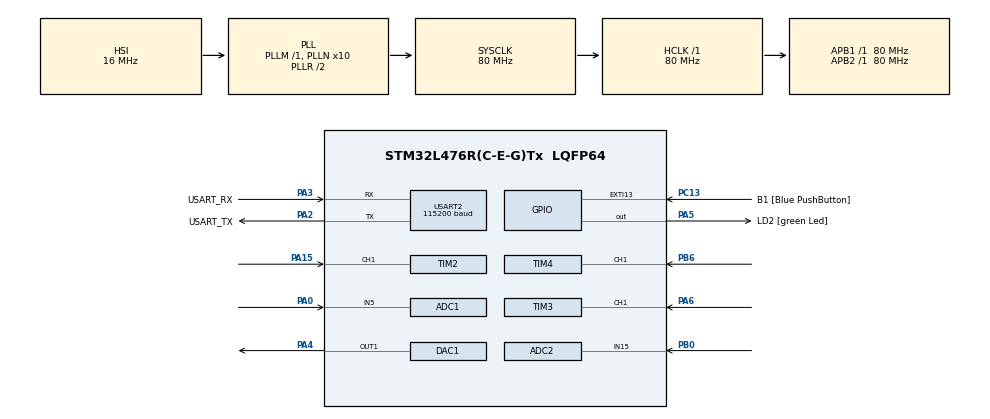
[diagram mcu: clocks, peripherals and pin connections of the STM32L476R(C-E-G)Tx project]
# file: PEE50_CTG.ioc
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Mcu.Family=STM32L4
PA2.GPIO_PuPd=GPIO_NOPULL
RCC.CortexFreq_Value=80000000
TIM2.Channel-Input_Capture1_from_TI1=TIM_CHANNEL_1
ADC2.Channel-0\#ChannelRegularConversion=ADC_CHANNEL_15
PH0-OSC_IN\ (PH0).Signal=RCC_OSC_IN
PA3.GPIO_PuPd=GPIO_NOPULL
PA2.GPIO_Speed=GPIO_SPEED_FREQ_VERY_HIGH
PA15\ (JTDI).Signal=S_TIM2_CH1
PC13.GPIO_Label=B1 [Blue PushButton]
PA3.GPIO_Speed=GPIO_SPEED_FREQ_VERY_HIGH
RCC.SYSCLKSource=RCC_SYSCLKSOURCE_PLLCLK
ProjectManager.StackSize=0x400
PB3\ (JTDO-TRACESWO).Signal=SYS_JTDO-SWO
TIM4.Channel-Input_Capture1_from_TI1=TIM_CHANNEL_1
NVIC.DMA1_Channel3_IRQn=true\:0\:0\:false\:false\:true\:false\:true
PA14\ (JTCK-SWCLK).Signal=SYS_JTCK-SWCLK
Dma.DAC_CH1.0.Instance=DMA1_Channel3
RCC.HCLKFreq_Value=80000000
RCC.APB2TimFreq_Value=80000000
TIM3.Period=20000
PB6.Signal=S_TIM4_CH1
RCC.AHBFreq_Value=80000000
RCC.PREFETCH_ENABLE=1
TIM3.ClockDivision=TIM_CLOCKDIVISION_DIV4
NVIC.EXTI15_10_IRQn=true\:0\:0\:false\:false\:true\:true\:true
ADC1.Channel-0\#ChannelRegularConversion=ADC_CHANNEL_5
RCC.HSE_VALUE=8000000
TIM3.Channel-Input_Capture1_from_TI1=TIM_CHANNEL_1
USART2.VirtualMode-Asynchronous=VM_ASYNC
SH.ADCx_IN15.1=ADC2_IN15,IN15-Single-Ended
SH.ADCx_IN15.0=ADC1_IN15
TIM3.Prescaler=0
PA5.GPIO_PuPd=GPIO_NOPULL
PC13.GPIO_PuPd=GPIO_NOPULL
Dma.DAC_CH1.0.PeriphDataAlignment=DMA_PDATAALIGN_WORD
SH.S_TIM3_CH1.0=TIM3_CH1,Input_Capture1_from_TI1
TIM4.Period=4000
ADC1.SamplingTime-0\#ChannelRegularConversion=ADC_SAMPLETIME_2CYCLES_5
PA0.Signal=ADCx_IN5
Mcu.Package=LQFP64
TIM2.Prescaler=0
TIM3.ICPrescaler-Input_Capture1_from_TI1=TIM_ICPSC_DIV1
PA6.Signal=S_TIM3_CH1
PA2.GPIO_Label=USART_TX
Dma.DAC_CH1.0.Priority=DMA_PRIORITY_HIGH
ADC2.SamplingTime-0\#ChannelRegularConversion=ADC_SAMPLETIME_2CYCLES_5
TIM2.TIM_MasterOutputTrigger=TIM_TRGO_UPDATE
SH.S_TIM4_CH1.0=TIM4_CH1,Input_Capture1_from_TI1
RCC.APB1TimFreq_Value=80000000
ADC2.Rank-0\#ChannelRegularConversion=1
PA13\ (JTMS-SWDIO).Signal=SYS_JTMS-SWDIO
Dma.Request0=DAC_CH1
VP_TIM3_VS_ClockSourceINT.Mode=Internal
PA3.Signal=USART2_RX
PA2.GPIO_Mode=GPIO_MODE_AF_PP
RCC.MSI_VALUE=4000000
RCC.PLLSourceVirtual=RCC_PLLSOURCE_HSI
Dma.DAC_CH1.0.Mode=DMA_CIRCULAR
Dma.DAC_CH1.0.MemDataAlignment=DMA_MDATAALIGN_WORD
TIM4.AutoReloadPreload=TIM_AUTORELOAD_PRELOAD_ENABLE
SH.S_TIM2_CH1.0=TIM2_CH1,Input_Capture1_from_TI1
ADC1.Rank-0\#ChannelRegularConversion=1
TIM3.AutoReloadPreload=TIM_AUTORELOAD_PRELOAD_ENABLE
ADC1.OffsetNumber-0\#ChannelRegularConversion=ADC_OFFSET_NONE
PC13.Signal=GPXTI13
PC15-OSC32_OUT\ (PC15).Signal=RCC_OSC32_OUT
PA14\ (JTCK-SWCLK).GPIO_Label=TCK
PB3\ (JTDO-TRACESWO).GPIO_Label=SWO
USART2.BaudRate=115200
PH1-OSC_OUT\ (PH1).Signal=RCC_OSC_OUT
PA3.Mode=Asynchronous
Dma.DAC_CH1.0.Direction=DMA_MEMORY_TO_PERIPH
ProjectManager.TargetToolchain=STM32CubeIDE
PA3.GPIO_Mode=GPIO_MODE_AF_PP
SH.COMP_DAC11_group.0=DAC1_OUT1,DAC_OUT1
Dma.DAC_CH1.0.MemInc=DMA_MINC_ENABLE
RCC.USBFreq_Value=64000000
TIM4.Prescaler=20000
RCC.LSE_VALUE=32768
PA5.Signal=GPIO_Output
ADC2.OffsetNumber-0\#ChannelRegularConversion=ADC_OFFSET_NONE
board=NUCLEO-L476RG
RCC.VCOOutputFreq_Value=160000000
NVIC.TIM3_IRQn=true\:0\:0\:false\:false\:true\:true\:true
RCC.APB2Freq_Value=80000000
PA5.GPIO_ModeDefaultOutputPP=GPIO_MODE_OUTPUT_PP
PA13\ (JTMS-SWDIO).GPIO_Label=TMS
TIM4.ClockDivision=TIM_CLOCKDIVISION_DIV4
VP_TIM2_VS_ClockSourceINT.Mode=Internal
RCC.ADCFreq_Value=64000000
DAC1.DAC_Trigger-DAC_OUT1=DAC_TRIGGER_T2_TRGO
TIM2.Period=24
Mcu.Name=STM32L476R(C-E-G)Tx
PA2.Signal=USART2_TX
Dma.DAC_CH1.0.PeriphInc=DMA_PINC_DISABLE
PA4.Signal=COMP_DAC11_group
RCC.SYSCLKFreq_VALUE=80000000
ADC1.master=1
PA5.GPIO_Label=LD2 [green Led]
ADC2.NbrOfConversionFlag=1
PC13.GPIO_ModeDefaultEXTI=GPIO_MODE_IT_FALLING
PC14-OSC32_IN\ (PC14).Signal=RCC_OSC32_IN
ProjectManager.HeapSize=0x200
RCC.HSI_VALUE=16000000
SH.ADCx_IN5.0=ADC1_IN5,IN5-Single-Ended
VP_TIM4_VS_ClockSourceINT.Mode=Internal
PA5.GPIO_Speed=GPIO_SPEED_FREQ_LOW
NVIC.PriorityGroup=NVIC_PRIORITYGROUP_4
ADC1.NbrOfConversionFlag=1
RCC.PLLN=10
PA2.Mode=Asynchronous
TIM2.AutoReloadPreload=TIM_AUTORELOAD_PRELOAD_ENABLE
NVIC.TIM4_IRQn=true\:0\:0\:false\:false\:true\:true\:true
RCC.APB1Freq_Value=80000000
USART2.Mode=MODE_TX
PB0.Signal=ADCx_IN15
PA3.GPIO_Label=USART_RX

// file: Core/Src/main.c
/* USER CODE BEGIN Header */
/**
  ******************************************************************************
  * @file           : main.c
  * @brief          : Main program body
  ******************************************************************************
  * @attention
  *
  * <h2><center>&copy; Copyright (c) 2021 STMicroelectronics.
  * All rights reserved.</center></h2>
  *
  * This software component is licensed by ST under BSD 3-Clause license,
  * the "License"; You may not use this file except in compliance with the
  * License. You may obtain a copy of the License at:
  *                        opensource.org/licenses/BSD-3-Clause
  *
  ******************************************************************************
  */
/* USER CODE END Header */
#include "main.h"

/* USER CODE BEGIN Includes */
#include <ctg.h>
#include <stdio.h>
#include <string.h>
#include <stdbool.h>
#include <stdlib.h>
/* USER CODE END Includes */

/* USER CODE BEGIN PTD */

/* use linked list instead of array */
typedef struct node {
    float sample;
    struct node *next;
} node_t;

node_t *head = NULL;
node_t *tail = NULL;

node_t *root = NULL;
node_t *leaf = NULL;

/* USER CODE END PTD */

/* USER CODE BEGIN PD */

/* timeconstants in ms for calculating averages */
#define FREQ 38
#define AVG	100

/* USER CODE END PD */

ADC_HandleTypeDef hadc1;
ADC_HandleTypeDef hadc2;

DAC_HandleTypeDef hdac1;
DMA_HandleTypeDef hdma_dac_ch1;

TIM_HandleTypeDef htim2;
TIM_HandleTypeDef htim3;
TIM_HandleTypeDef htim4;

UART_HandleTypeDef huart2;

/* USER CODE BEGIN PV */

/* voltage variables */
float voltage 			= 0;
float avg_voltage 		= 0;
//float center_voltage 	= 0;

/* sum variables */
float sum_voltage 		= 0;
float sum_center 		= 0;

/* time-keeping variables */
volatile uint32_t new_time 		= 0;
volatile uint32_t current_time 	= 0;
volatile uint32_t previous_time = 0;

volatile bool bHeart 			= false;
volatile bool bDelayed_start 	= true;
volatile bool bEcg				= false;
volatile bool bUart				= false;
volatile int i 					= 0;

/* bpm variables */
volatile uint16_t bpm 			= 0;

/* comapre values for ecg and respitory */
uint16_t ecg_level		= (0.145 * 1000);
uint16_t resp_level		= (0.09 * 1000);
uint16_t current_level	= 0;

/* shift list with one npde */
void shift(float sample)
{
	/* init node */
	node_t *n = (node_t*) malloc(sizeof(node_t));
	n->sample = sample;
	n->next = NULL;

	/* add to tail */
	tail->next = n;
	tail = n;

	/* remove first node */
	node_t *temp = head;
	head = head->next;
	free(temp);
}

void shift2(float sample)
{
	/* init node */
	node_t *n = (node_t*) malloc(sizeof(node_t));
	n->sample = sample;
	n->next = NULL;

	/* add to tail */
	leaf->next = n;
	leaf = n;

	/* remove first node */
	node_t *temp = root;
	root = root->next;
	free(temp);
}

/* USER CODE END PV */

void SystemClock_Config(void);
static void MX_GPIO_Init(void);
static void MX_DMA_Init(void);
static void MX_DAC1_Init(void);
static void MX_TIM2_Init(void);
static void MX_USART2_UART_Init(void);
static void MX_ADC1_Init(void);
static void MX_TIM3_Init(void);
static void MX_TIM4_Init(void);
static void MX_ADC2_Init(void);
/* USER CODE BEGIN PFP */
int k = 0;

/* Timer interrupt for heart rate and respitory rate */
void HAL_TIM_PeriodElapsedCallback(TIM_HandleTypeDef *htim)
{
	//Every 1ms it will go in this interrupt.
	/* uart send rate is equal to the timer 4 freq */
	if(htim == &htim4) { bHeart = true; }

	if(bEcg)
	{
		/* read adc */
		ctg_read_adc(&hadc1,&voltage);

		/* the only difference betweeen previous sums is
		 * the first and last index */
		shift(voltage);
		sum_voltage -= head->sample;
		sum_voltage += tail->sample;

		avg_voltage = (sum_voltage / 30);

		i++;
		if(i % 20 == 0)
		{
			shift2(avg_voltage);
			sum_center -= root->sample;
			sum_center += leaf->sample;
		}
		if(i % 2000 == 0 && k != 1)
		{
			k = 1;
			i = 0;
		}

		float center = sum_center / AVG;

		/* center voltage to 0V */
		avg_voltage -= center;
	}
	else
	{
		ctg_read_adc(&hadc2,&voltage);
		avg_voltage = voltage;
	}

#define DEBUG_PRINT 0
#if DEBUG_PRINT == 1
	/* DEBUG: print heart rate */
	char array[14];
	sprintf(array,"%.4f",avg_voltage);
	ctg_print(&huart2, array);
	strncpy(array,"            ",14);

#elif DEBUG_PRINT == 2
	/* DEBUG: print respitory rate */
	bEcg = true;
	char array[14];
	sprintf(array,"%.4f", voltage);
	ctg_print(&huart2, array);
	strncpy(array,"            ",14);
#endif

	//if(avg_voltage > 0.2)
	if(avg_voltage > 0.47)
	{
		new_time = HAL_GetTick();
		current_time = new_time - previous_time;
		if(current_time > 200)
		{
			previous_time = new_time;
			if(bHeart)
			{
				bpm = (1.0 / (current_time / 1000.0) ) * 60;
				char array[7];
#if DEBUG_PRINT == 0
				if(bEcg)
				{
					sprintf(array,"X%d",bpm);
				}
				else
				{
					sprintf(array,"R%d",bpm);
					//sprintf(array,"%.4f",voltage);
				}
#endif
				ctg_print(&huart2, array);
				strncpy(array,"",7);
				bpm = 0;
				bHeart = false;
			}
		}
	}
}
bool bSwitch = true;
/* button interrupt callback function */
__weak void HAL_GPIO_EXTI_Callback(uint16_t GPIO_Pin)
{
	if(GPIO_Pin == GPIO_PIN_13)
	{
		if(bSwitch == true)
		{
			ctg_print(&huart2, "Hartslag");

			/* stop timer and dma for dac */
			HAL_TIM_Base_Stop_IT(&htim2);
			HAL_DAC_Stop_DMA(&hdac1, DAC_CHANNEL_1);

			/* switch multiplexer to ecg */
			HAL_GPIO_WritePin(GPIOA, GPIO_PIN_10, GPIO_PIN_RESET);

			bEcg = true;

			bSwitch = false;
		}
		else
		{
			ctg_print(&huart2, "Ademhaling");

			/* start timer and dma for dac */
			HAL_TIM_Base_Start_IT(&htim2);
			HAL_DAC_Start_DMA(&hdac1, DAC_CHANNEL_1, (uint32_t*)sinewave32, 32, DAC_ALIGN_12B_R);

			/* switch multiplexer to respitory */
			HAL_GPIO_WritePin(GPIOA, GPIO_PIN_10, GPIO_PIN_SET);

			bEcg = false;

			bSwitch = true;
		}
	}
}

/* USER CODE END PFP */

int main(void)
{
  /* USER CODE BEGIN 1 */

	/* initialise linked list with 30 empty nodes */
	for(int i = 0; i < FREQ; i++)
	{
		node_t *n = (node_t*) malloc(sizeof(node_t));
		n->sample = 0.0;
		n->next = NULL;

		if(head == NULL)
		{
			head = n;
			tail = head;
		}
		else
		{
			n->next = head;
			head = n;
		}
	}

	for(int i = 0; i < AVG; i++)
	{
		node_t *n = (node_t*) malloc(sizeof(node_t));
		n->sample = 0.0;
		n->next = NULL;

		if(root == NULL)
		{
			root = n;
			leaf = root;
		}
		else
		{
			n->next = root;
			root = n;
		}
	}

  /* USER CODE END 1 */

  /* MCU Configuration--------------------------------------------------------*/

  /* Reset of all peripherals, Initializes the Flash interface and the Systick. */
  HAL_Init();

  /* Configure the system clock */
  SystemClock_Config();

  /* Initialize all configured peripherals */
  MX_GPIO_Init();
  MX_DMA_Init();
  MX_DAC1_Init();
  MX_TIM2_Init();
  MX_USART2_UART_Init();
  MX_ADC1_Init();
  MX_TIM3_Init();
  MX_TIM4_Init();
  MX_ADC2_Init();
  /* USER CODE BEGIN 2 */

  /* start timer with interrupt for adc */
  HAL_TIM_Base_Start_IT(&htim3);

  /* start timer for uart sending*/
  HAL_TIM_Base_Start_IT(&htim4);

  /* test print */
  ctg_print(&huart2, "PEE50 cardiotacograph");

  /* start with measuring heart rate */
  ctg_print(&huart2, "Hartslag");

  /* stop timer and dma for dac */
  HAL_TIM_Base_Stop_IT(&htim2);
  HAL_DAC_Stop_DMA(&hdac1, DAC_CHANNEL_1);

  /* start timer and dma for dac */
  HAL_TIM_Base_Start_IT(&htim2);
  HAL_DAC_Start_DMA(&hdac1, DAC_CHANNEL_1, (uint32_t*)sinewave32, 32, DAC_ALIGN_12B_R);

  /* switch multiplexer to ecg */
  //reset is:
  HAL_GPIO_WritePin(GPIOA, GPIO_PIN_10, GPIO_PIN_RESET);

  bEcg = true;

  bSwitch = false;
  /* USER CODE END 2 */

  /* Infinite loop */
  /* USER CODE BEGIN WHILE */
  while (1)
  {
//	  if(HAL_GPIO_ReadPin(GPIOC, GPIO_PIN_13) == 1)
//	  {
//		  bEcg = true;
//	  }
//	  else
//	  {
//		  bEcg = false;
//	  }

    /* USER CODE END WHILE */

  }
}

void SystemClock_Config(void)
{
  RCC_OscInitTypeDef RCC_OscInitStruct = {0};
  RCC_ClkInitTypeDef RCC_ClkInitStruct = {0};
  RCC_PeriphCLKInitTypeDef PeriphClkInit = {0};

  /** Initializes the RCC Oscillators according to the specified parameters
  * in the RCC_OscInitTypeDef structure.
  */
  RCC_OscInitStruct.OscillatorType = RCC_OSCILLATORTYPE_HSI;
  RCC_OscInitStruct.HSIState = RCC_HSI_ON;
  RCC_OscInitStruct.HSICalibrationValue = RCC_HSICALIBRATION_DEFAULT;
  RCC_OscInitStruct.PLL.PLLState = RCC_PLL_ON;
  RCC_OscInitStruct.PLL.PLLSource = RCC_PLLSOURCE_HSI;
  RCC_OscInitStruct.PLL.PLLM = 1;
  RCC_OscInitStruct.PLL.PLLN = 10;
  RCC_OscInitStruct.PLL.PLLP = RCC_PLLP_DIV7;
  RCC_OscInitStruct.PLL.PLLQ = RCC_PLLQ_DIV2;
  RCC_OscInitStruct.PLL.PLLR = RCC_PLLR_DIV2;
  if (HAL_RCC_OscConfig(&RCC_OscInitStruct) != HAL_OK)
  {
    Error_Handler();
  }
  /** Initializes the CPU, AHB and APB buses clocks
  */
  RCC_ClkInitStruct.ClockType = RCC_CLOCKTYPE_HCLK|RCC_CLOCKTYPE_SYSCLK
                              |RCC_CLOCKTYPE_PCLK1|RCC_CLOCKTYPE_PCLK2;
  RCC_ClkInitStruct.SYSCLKSource = RCC_SYSCLKSOURCE_PLLCLK;
  RCC_ClkInitStruct.AHBCLKDivider = RCC_SYSCLK_DIV1;
  RCC_ClkInitStruct.APB1CLKDivider = RCC_HCLK_DIV1;
  RCC_ClkInitStruct.APB2CLKDivider = RCC_HCLK_DIV1;

  if (HAL_RCC_ClockConfig(&RCC_ClkInitStruct, FLASH_LATENCY_4) != HAL_OK)
  {
    Error_Handler();
  }
  PeriphClkInit.PeriphClockSelection = RCC_PERIPHCLK_USART2|RCC_PERIPHCLK_ADC;
  PeriphClkInit.Usart2ClockSelection = RCC_USART2CLKSOURCE_PCLK1;
  PeriphClkInit.AdcClockSelection = RCC_ADCCLKSOURCE_PLLSAI1;
  PeriphClkInit.PLLSAI1.PLLSAI1Source = RCC_PLLSOURCE_HSI;
  PeriphClkInit.PLLSAI1.PLLSAI1M = 1;
  PeriphClkInit.PLLSAI1.PLLSAI1N = 8;
  PeriphClkInit.PLLSAI1.PLLSAI1P = RCC_PLLP_DIV7;
  PeriphClkInit.PLLSAI1.PLLSAI1Q = RCC_PLLQ_DIV2;
  PeriphClkInit.PLLSAI1.PLLSAI1R = RCC_PLLR_DIV2;
  PeriphClkInit.PLLSAI1.PLLSAI1ClockOut = RCC_PLLSAI1_ADC1CLK;
  if (HAL_RCCEx_PeriphCLKConfig(&PeriphClkInit) != HAL_OK)
  {
    Error_Handler();
  }
  /** Configure the main internal regulator output voltage
  */
  if (HAL_PWREx_ControlVoltageScaling(PWR_REGULATOR_VOLTAGE_SCALE1) != HAL_OK)
  {
    Error_Handler();
  }
}

static void MX_ADC1_Init(void)
{

  ADC_MultiModeTypeDef multimode = {0};
  ADC_ChannelConfTypeDef sConfig = {0};

  /** Common config
  */
  hadc1.Instance = ADC1;
  hadc1.Init.ClockPrescaler = ADC_CLOCK_ASYNC_DIV1;
  hadc1.Init.Resolution = ADC_RESOLUTION_12B;
  hadc1.Init.DataAlign = ADC_DATAALIGN_RIGHT;
  hadc1.Init.ScanConvMode = ADC_SCAN_DISABLE;
  hadc1.Init.EOCSelection = ADC_EOC_SINGLE_CONV;
  hadc1.Init.LowPowerAutoWait = DISABLE;
  hadc1.Init.ContinuousConvMode = DISABLE;
  hadc1.Init.NbrOfConversion = 1;
  hadc1.Init.DiscontinuousConvMode = DISABLE;
  hadc1.Init.ExternalTrigConv = ADC_SOFTWARE_START;
  hadc1.Init.ExternalTrigConvEdge = ADC_EXTERNALTRIGCONVEDGE_NONE;
  hadc1.Init.DMAContinuousRequests = DISABLE;
  hadc1.Init.Overrun = ADC_OVR_DATA_PRESERVED;
  hadc1.Init.OversamplingMode = DISABLE;
  if (HAL_ADC_Init(&hadc1) != HAL_OK)
  {
    Error_Handler();
  }
  /** Configure the ADC multi-mode
  */
  multimode.Mode = ADC_MODE_INDEPENDENT;
  if (HAL_ADCEx_MultiModeConfigChannel(&hadc1, &multimode) != HAL_OK)
  {
    Error_Handler();
  }
  /** Configure Regular Channel
  */
  sConfig.Channel = ADC_CHANNEL_5;
  sConfig.Rank = ADC_REGULAR_RANK_1;
  sConfig.SamplingTime = ADC_SAMPLETIME_2CYCLES_5;
  sConfig.SingleDiff = ADC_SINGLE_ENDED;
  sConfig.OffsetNumber = ADC_OFFSET_NONE;
  sConfig.Offset = 0;
  if (HAL_ADC_ConfigChannel(&hadc1, &sConfig) != HAL_OK)
  {
    Error_Handler();
  }

}

static void MX_ADC2_Init(void)
{

  ADC_ChannelConfTypeDef sConfig = {0};

  /** Common config
  */
  hadc2.Instance = ADC2;
  hadc2.Init.ClockPrescaler = ADC_CLOCK_ASYNC_DIV1;
  hadc2.Init.Resolution = ADC_RESOLUTION_12B;
  hadc2.Init.DataAlign = ADC_DATAALIGN_RIGHT;
  hadc2.Init.ScanConvMode = ADC_SCAN_DISABLE;
  hadc2.Init.EOCSelection = ADC_EOC_SINGLE_CONV;
  hadc2.Init.LowPowerAutoWait = DISABLE;
  hadc2.Init.ContinuousConvMode = DISABLE;
  hadc2.Init.NbrOfConversion = 1;
  hadc2.Init.DiscontinuousConvMode = DISABLE;
  hadc2.Init.ExternalTrigConv = ADC_SOFTWARE_START;
  hadc2.Init.ExternalTrigConvEdge = ADC_EXTERNALTRIGCONVEDGE_NONE;
  hadc2.Init.DMAContinuousRequests = DISABLE;
  hadc2.Init.Overrun = ADC_OVR_DATA_PRESERVED;
  hadc2.Init.OversamplingMode = DISABLE;
  if (HAL_ADC_Init(&hadc2) != HAL_OK)
  {
    Error_Handler();
  }
  /** Configure Regular Channel
  */
  sConfig.Channel = ADC_CHANNEL_15;
  sConfig.Rank = ADC_REGULAR_RANK_1;
  sConfig.SamplingTime = ADC_SAMPLETIME_2CYCLES_5;
  sConfig.SingleDiff = ADC_SINGLE_ENDED;
  sConfig.OffsetNumber = ADC_OFFSET_NONE;
  sConfig.Offset = 0;
  if (HAL_ADC_ConfigChannel(&hadc2, &sConfig) != HAL_OK)
  {
    Error_Handler();
  }

}

static void MX_DAC1_Init(void)
{

  DAC_ChannelConfTypeDef sConfig = {0};

  /** DAC Initialization
  */
  hdac1.Instance = DAC1;
  if (HAL_DAC_Init(&hdac1) != HAL_OK)
  {
    Error_Handler();
  }
  /** DAC channel OUT1 config
  */
  sConfig.DAC_SampleAndHold = DAC_SAMPLEANDHOLD_DISABLE;
  sConfig.DAC_Trigger = DAC_TRIGGER_T2_TRGO;
  sConfig.DAC_OutputBuffer = DAC_OUTPUTBUFFER_ENABLE;
  sConfig.DAC_ConnectOnChipPeripheral = DAC_CHIPCONNECT_DISABLE;
  sConfig.DAC_UserTrimming = DAC_TRIMMING_FACTORY;
  if (HAL_DAC_ConfigChannel(&hdac1, &sConfig, DAC_CHANNEL_1) != HAL_OK)
  {
    Error_Handler();
  }

}

static void MX_TIM2_Init(void)
{

  TIM_ClockConfigTypeDef sClockSourceConfig = {0};
  TIM_MasterConfigTypeDef sMasterConfig = {0};
  TIM_IC_InitTypeDef sConfigIC = {0};

  htim2.Instance = TIM2;
  htim2.Init.Prescaler = 0;
  htim2.Init.CounterMode = TIM_COUNTERMODE_UP;
  htim2.Init.Period = 24;
  htim2.Init.ClockDivision = TIM_CLOCKDIVISION_DIV1;
  htim2.Init.AutoReloadPreload = TIM_AUTORELOAD_PRELOAD_ENABLE;
  if (HAL_TIM_Base_Init(&htim2) != HAL_OK)
  {
    Error_Handler();
  }
  sClockSourceConfig.ClockSource = TIM_CLOCKSOURCE_INTERNAL;
  if (HAL_TIM_ConfigClockSource(&htim2, &sClockSourceConfig) != HAL_OK)
  {
    Error_Handler();
  }
  if (HAL_TIM_IC_Init(&htim2) != HAL_OK)
  {
    Error_Handler();
  }
  sMasterConfig.MasterOutputTrigger = TIM_TRGO_UPDATE;
  sMasterConfig.MasterSlaveMode = TIM_MASTERSLAVEMODE_DISABLE;
  if (HAL_TIMEx_MasterConfigSynchronization(&htim2, &sMasterConfig) != HAL_OK)
  {
    Error_Handler();
  }
  sConfigIC.ICPolarity = TIM_INPUTCHANNELPOLARITY_RISING;
  sConfigIC.ICSelection = TIM_ICSELECTION_DIRECTTI;
  sConfigIC.ICPrescaler = TIM_ICPSC_DIV1;
  sConfigIC.ICFilter = 0;
  if (HAL_TIM_IC_ConfigChannel(&htim2, &sConfigIC, TIM_CHANNEL_1) != HAL_OK)
  {
    Error_Handler();
  }

}

static void MX_TIM3_Init(void)
{

  TIM_ClockConfigTypeDef sClockSourceConfig = {0};
  TIM_MasterConfigTypeDef sMasterConfig = {0};
  TIM_IC_InitTypeDef sConfigIC = {0};

  htim3.Instance = TIM3;
  htim3.Init.Prescaler = 0;
  htim3.Init.CounterMode = TIM_COUNTERMODE_UP;
  htim3.Init.Period = 20000;
  htim3.Init.ClockDivision = TIM_CLOCKDIVISION_DIV4;
  htim3.Init.AutoReloadPreload = TIM_AUTORELOAD_PRELOAD_ENABLE;
  if (HAL_TIM_Base_Init(&htim3) != HAL_OK)
  {
    Error_Handler();
  }
  sClockSourceConfig.ClockSource = TIM_CLOCKSOURCE_INTERNAL;
  if (HAL_TIM_ConfigClockSource(&htim3, &sClockSourceConfig) != HAL_OK)
  {
    Error_Handler();
  }
  if (HAL_TIM_IC_Init(&htim3) != HAL_OK)
  {
    Error_Handler();
  }
  sMasterConfig.MasterOutputTrigger = TIM_TRGO_RESET;
  sMasterConfig.MasterSlaveMode = TIM_MASTERSLAVEMODE_DISABLE;
  if (HAL_TIMEx_MasterConfigSynchronization(&htim3, &sMasterConfig) != HAL_OK)
  {
    Error_Handler();
  }
  sConfigIC.ICPolarity = TIM_INPUTCHANNELPOLARITY_RISING;
  sConfigIC.ICSelection = TIM_ICSELECTION_DIRECTTI;
  sConfigIC.ICPrescaler = TIM_ICPSC_DIV1;
  sConfigIC.ICFilter = 0;
  if (HAL_TIM_IC_ConfigChannel(&htim3, &sConfigIC, TIM_CHANNEL_1) != HAL_OK)
  {
    Error_Handler();
  }

}

static void MX_TIM4_Init(void)
{

  TIM_ClockConfigTypeDef sClockSourceConfig = {0};
  TIM_MasterConfigTypeDef sMasterConfig = {0};
  TIM_IC_InitTypeDef sConfigIC = {0};

  htim4.Instance = TIM4;
  htim4.Init.Prescaler = 20000;
  htim4.Init.CounterMode = TIM_COUNTERMODE_UP;
  htim4.Init.Period = 4000;
  htim4.Init.ClockDivision = TIM_CLOCKDIVISION_DIV4;
  htim4.Init.AutoReloadPreload = TIM_AUTORELOAD_PRELOAD_ENABLE;
  if (HAL_TIM_Base_Init(&htim4) != HAL_OK)
  {
    Error_Handler();
  }
  sClockSourceConfig.ClockSource = TIM_CLOCKSOURCE_INTERNAL;
  if (HAL_TIM_ConfigClockSource(&htim4, &sClockSourceConfig) != HAL_OK)
  {
    Error_Handler();
  }
  if (HAL_TIM_IC_Init(&htim4) != HAL_OK)
  {
    Error_Handler();
  }
  sMasterConfig.MasterOutputTrigger = TIM_TRGO_RESET;
  sMasterConfig.MasterSlaveMode = TIM_MASTERSLAVEMODE_DISABLE;
  if (HAL_TIMEx_MasterConfigSynchronization(&htim4, &sMasterConfig) != HAL_OK)
  {
    Error_Handler();
  }
  sConfigIC.ICPolarity = TIM_INPUTCHANNELPOLARITY_RISING;
  sConfigIC.ICSelection = TIM_ICSELECTION_DIRECTTI;
  sConfigIC.ICPrescaler = TIM_ICPSC_DIV1;
  sConfigIC.ICFilter = 0;
  if (HAL_TIM_IC_ConfigChannel(&htim4, &sConfigIC, TIM_CHANNEL_1) != HAL_OK)
  {
    Error_Handler();
  }

}

static void MX_USART2_UART_Init(void)
{

  huart2.Instance = USART2;
  huart2.Init.BaudRate = 115200;
  huart2.Init.WordLength = UART_WORDLENGTH_8B;
  huart2.Init.StopBits = UART_STOPBITS_1;
  huart2.Init.Parity = UART_PARITY_NONE;
  huart2.Init.Mode = UART_MODE_TX;
  huart2.Init.HwFlowCtl = UART_HWCONTROL_NONE;
  huart2.Init.OverSampling = UART_OVERSAMPLING_16;
  huart2.Init.OneBitSampling = UART_ONE_BIT_SAMPLE_DISABLE;
  huart2.AdvancedInit.AdvFeatureInit = UART_ADVFEATURE_NO_INIT;
  if (HAL_UART_Init(&huart2) != HAL_OK)
  {
    Error_Handler();
  }

}

static void MX_DMA_Init(void)
{

  /* DMA controller clock enable */
  __HAL_RCC_DMA1_CLK_ENABLE();

  /* DMA interrupt init */
  /* DMA1_Channel3_IRQn interrupt configuration */
  HAL_NVIC_SetPriority(DMA1_Channel3_IRQn, 0, 0);
  HAL_NVIC_EnableIRQ(DMA1_Channel3_IRQn);

}

static void MX_GPIO_Init(void)
{
  GPIO_InitTypeDef GPIO_InitStruct = {0};

  /* GPIO Ports Clock Enable */
  __HAL_RCC_GPIOC_CLK_ENABLE();
  __HAL_RCC_GPIOH_CLK_ENABLE();
  __HAL_RCC_GPIOA_CLK_ENABLE();
  __HAL_RCC_GPIOB_CLK_ENABLE();

  /*Configure GPIO pin Output Level */
  HAL_GPIO_WritePin(LD2_GPIO_Port, LD2_Pin, GPIO_PIN_RESET);

  /*Configure GPIO pin : B1_Pin */
  GPIO_InitStruct.Pin = B1_Pin;
  GPIO_InitStruct.Mode = GPIO_MODE_IT_FALLING;
  GPIO_InitStruct.Pull = GPIO_NOPULL;
  HAL_GPIO_Init(B1_GPIO_Port, &GPIO_InitStruct);

  /*Configure GPIO pin : LD2_Pin */
  GPIO_InitStruct.Pin = LD2_Pin;
  GPIO_InitStruct.Mode = GPIO_MODE_OUTPUT_PP;
  GPIO_InitStruct.Pull = GPIO_NOPULL;
  GPIO_InitStruct.Speed = GPIO_SPEED_FREQ_LOW;
  HAL_GPIO_Init(LD2_GPIO_Port, &GPIO_InitStruct);

  /* EXTI interrupt init*/
  HAL_NVIC_SetPriority(EXTI15_10_IRQn, 0, 0);
  HAL_NVIC_EnableIRQ(EXTI15_10_IRQn);

}

void Error_Handler(void)
{
  __disable_irq();
  while (1)
  {
  }
}

/************************ (C) COPYRIGHT STMicroelectronics *****END OF FILE****/
